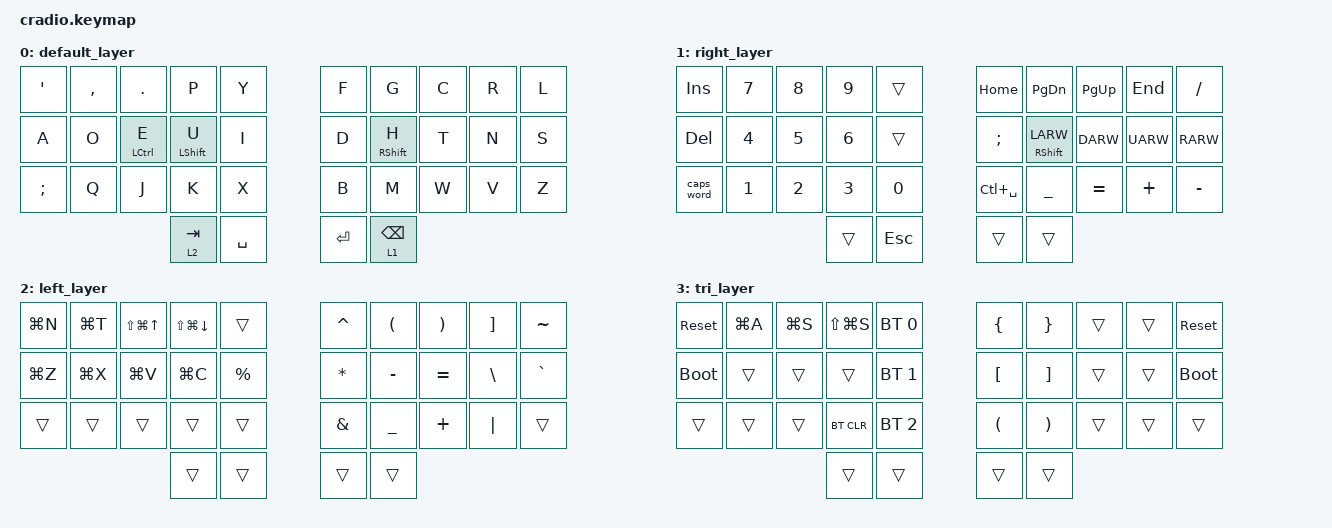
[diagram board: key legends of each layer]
// Copyright (c) 2022 The ZMK Contributors
// SPDX-License-Identifier: MIT

#include <behaviors.dtsi>
#include <dt-bindings/zmk/keys.h>
#include <dt-bindings/zmk/bt.h>

// Home row mods macro
#define HRML(k1,k2,k3,k4) &ht LCTRL k1  &ht LALT k2  &ht LGUI k3  &ht LSHFT k4
#define HRMR(k1,k2,k3,k4) &ht RGUI k1  &ht RCTRL k2  &ht RALT k3  &ht RSHFT k4

/ {
    behaviors {
        ht: hold_tap {
            compatible = "zmk,behavior-hold-tap";
            #binding-cells = <2>;
            flavor = "tap-preferred";
            tapping-term-ms = <220>;
            quick-tap-ms = <150>;
            require-prior-idle-ms = <100>;
            bindings = <&kp>, <&kp>;
        };
    };

    conditional_layers {
        compatible = "zmk,conditional-layers";
        tri_layer {
            if-layers = <1 2>;
            then-layer = <3>;
        };
    };

    keymap {
        compatible = "zmk,keymap";
        default_layer {
            bindings = <
        //╭──────────┬──────────┬──────────┬──────────┬──────────╮   ╭──────────┬──────────┬──────────┬──────────┬──────────╮
        //│  Q       │  W       │  E       │  R       │  T       │   │  Y       │  U       │  I       │  O       │  P       │
            &kp SQT   &kp COMMA   &kp DOT      &kp P      &kp Y          &kp F      &kp G      &kp C      &kp R      &kp L
        //├──────────┼──────────┼──────────┼──────────┼──────────┤   ├──────────┼──────────┼──────────┼──────────┼──────────┤
        //│  A       │  S       │  D       │  F       │  G       │   │  H       │  J       │  K       │  L       │ ' "      │
             &kp A    &kp O      &mt LCTRL E      &mt LSHIFT U &kp I          &kp D   &mt RSHIFT H &kp T      &kp N      &kp S
        //├──────────┼──────────┼──────────┼──────────┼──────────┤   ├──────────┼──────────┼──────────┼──────────┼──────────┤
        //│  Z       │  X       │  C       │  V       │  B       │   │  N       │  M       │ , <      │ . >      │ / ?      │
            &kp SEMI      &kp Q      &kp J      &kp K      &kp X          &kp B      &kp M      &kp W  &kp V        &kp Z
        //╰──────────┴──────────┴──────────┼──────────┼──────────┤   ├──────────┼──────────┼──────────┴──────────┴──────────╯
                                            &lt 2 TAB   &kp SPACE     &kp ENTER  &lt 1 BSPC
        //                                 ╰──────────┴──────────╯   ╰──────────┴──────────╯
            >;
        };

        right_layer {
            bindings = <
        //╭──────────┬──────────┬──────────┬──────────┬──────────╮   ╭──────────┬──────────┬──────────┬──────────┬──────────╮
        //│ INSERT   │  1       │  2       │  3       │          │   │ HOME     │ PAGE DN  │ PAGE UP  │ END      │  :       │
            &kp INS    &kp N7     &kp N8     &kp N9     &trans         &kp HOME   &kp PG_DN  &kp PG_UP  &kp END    &kp FSLH
        //├──────────┼──────────┼──────────┼──────────┼──────────┤   ├──────────┼──────────┼──────────┼──────────┼──────────┤
        //│ DELETE   │  4       │  5       │  6       │          │   │ LEFT     │ DOWN     │ UP       │ RIGHT    │  ;       │
            &kp DEL    &kp N4     &kp N5     &kp N6     &trans        &kp SEMI  &mt RSHIFT LARW   &kp DARW   &kp UARW   &kp RARW   
        //├──────────┼──────────┼──────────┼──────────┼──────────┤   ├──────────┼──────────┼──────────┼──────────┼──────────┤
        //│ CAPS     │  7       │  8       │  9       │  0       │   │          │          │          │          │          │
           &caps_word  &kp N1     &kp N2     &kp N3     &kp N0         &kp LC(SPACE)     &kp UNDER  &kp EQUAL  &kp PLUS   &kp MINUS
        //╰──────────┴──────────┴──────────┼──────────┼──────────┤   ├──────────┼──────────┼──────────┴──────────┴──────────╯
                                             &trans     &kp ESC        &trans     &trans
        //                                 ╰──────────┴──────────╯   ╰──────────┴──────────╯
            >;
        };

        left_layer {
            bindings = <
        //╭──────────┬──────────┬──────────┬──────────┬──────────╮        ╭──────────┬──────────┬──────────┬──────────┬──────────╮
        //│          │  [       │  {       │  }       │          │        │  ^       │  (       │  )       │  ]       │  ~       │
        &kp LG(N)  &kp LG(T)   &kp LS(LG(UP)) &kp LS(LG(DOWN)) &trans &kp CARET  &kp LPAR   &kp RPAR   &kp RBKT   &kp TILDE
        //├──────────┼──────────┼──────────┼──────────┼──────────┤        ├──────────┼──────────┼──────────┼──────────┼──────────┤
        //│  !       │  @       │  #       │  $       │  %       │        │  *       │  -       │  =       │  \       │  `       │
        &kp LG(Z)   &kp LG(X)     &kp LG(V)   &kp LG(C)   &kp PRCNT        &kp ASTRK  &kp MINUS  &kp EQUAL  &kp BSLH   &kp GRAVE
        //├──────────┼──────────┼──────────┼──────────┼──────────┤        ├──────────┼──────────┼──────────┼──────────┼──────────┤
        //│          │          │          │          │          │        │  &       │  _       │  +       │  │       │          │
            &trans     &trans     &trans     &trans     &trans             &kp AMPS   &kp UNDER  &kp PLUS   &kp PIPE   &trans
        //╰──────────┴──────────┴──────────┼──────────┼──────────┤        ├──────────┼──────────┼──────────┴──────────┴──────────╯
                                             &trans     &trans             &trans     &trans
        //                                 ╰──────────┴──────────╯        ╰──────────┴──────────╯
            >;
        };

        tri_layer {
            bindings = <
        //╭──────────┬──────────┬──────────┬──────────┬──────────╮   ╭──────────┬──────────┬──────────┬──────────┬──────────╮
        //│ RESET    │          │          │          │PROFILE 0 │   │          │          │          │          │  RESET   │
           &sys_reset  &kp LG(A)     &kp LG(S)     &kp LS(LG(S))    &bt BT_SEL 0    &kp LBRC     &kp RBRC    &trans     &trans    &sys_reset
        //├──────────┼──────────┼──────────┼──────────┼──────────┤   ├──────────┼──────────┼──────────┼──────────┼──────────┤
        //│BOOTLOADER│          │          │          │PROFILE 1 │   │          │          │          │          │BOOTLOADER│
          &bootloader  &trans     &trans     &trans    &bt BT_SEL 1    &kp LBKT    &kp RBKT    &trans     &trans    &bootloader
        //├──────────┼──────────┼──────────┼──────────┼──────────┤   ├──────────┼──────────┼──────────┼──────────┼──────────┤
        //│          │          │          │ CLEAR BT │PROFILE 2 │   │          │          │          │          │          │
            &trans     &trans     &trans    &bt BT_CLR &bt BT_SEL 2    &kp LPAR     &kp RPAR     &trans     &trans     &trans
        //╰──────────┴──────────┴──────────┼──────────┼──────────┤   ├──────────┼──────────┼──────────┴──────────┴──────────╯
                                             &trans     &trans         &trans     &trans
        //                                 ╰──────────┴──────────╯   ╰──────────┴──────────╯
            >;
        };
    };
};
